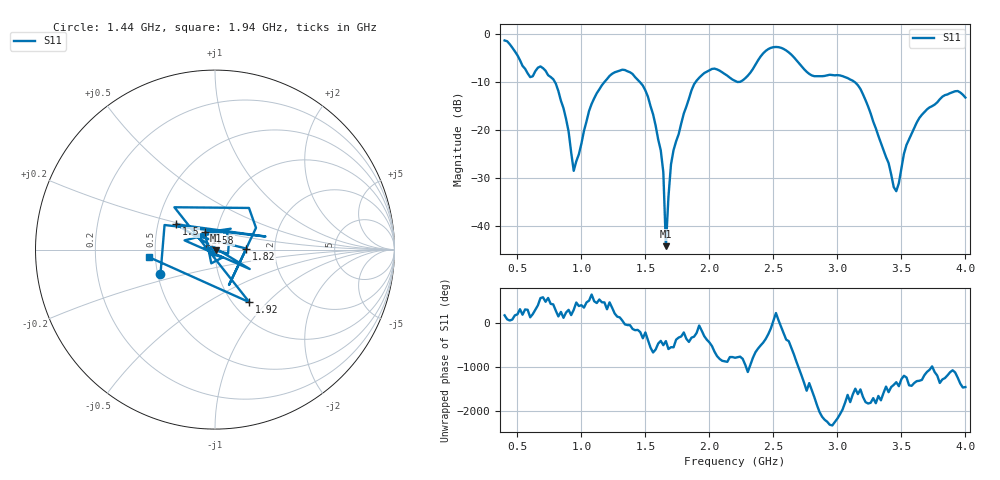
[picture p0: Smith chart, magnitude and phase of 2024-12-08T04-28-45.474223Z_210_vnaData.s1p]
!Created with skrf (http://scikit-rf.org).
# Hz S RI R 50.0
!freq ReS11 ImS11
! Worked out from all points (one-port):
!   181 points, 400 MHz to 4 GHz, reference 50 ohm
!   lowest |S11| = -44.3 dB at 1.66 GHz (marker M1), VSWR 1.01, Z = 50.4 - j0.47 ohm
!   |S11| at or under -10 dB: 792.8 MHz to 1.18 GHz (387.1 MHz wide, 39.2 % of centre); 1.457 GHz to 1.892 GHz (435.8 MHz wide, 26 % of centre); 3.135 GHz to end of sweep
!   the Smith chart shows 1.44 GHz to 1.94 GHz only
!   S11 on the Smith chart (normalised r, x): 1.44 GHz: 0.52, -0.16; 1.5 GHz: 0.62, +0.19; 1.58 GHz: 0.88, +0.17; 1.82 GHz: 1.42, +0.02; 1.92 GHz: 1.19, -0.79; 1.94 GHz: 0.46, -0.04
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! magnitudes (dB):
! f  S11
! 400 MHz  -1.3
! 600 MHz  -9.0
! 680 MHz  -6.7
! 780 MHz  -9.4
! 860 MHz  -15.5
! 940 MHz  -28.5
! 1.1 GHz  -13.4
! 1.3 GHz  -7.6
! 1.44 GHz  -9.5
! 1.5 GHz  -11.8
! 1.58 GHz  -19.1
! 1.64 GHz  -28.8
! 1.66 GHz  -44.3
! 1.7 GHz  -27.2
! 1.76 GHz  -20.9
! 1.82 GHz  -15.1
! 1.92 GHz  -9.1
! 1.94 GHz  -8.6
! 2.2 GHz  -9.8
! 2.48 GHz  -2.9
! 2.66 GHz  -4.8
! 2.8 GHz  -8.6
! 3.1 GHz  -9.5
! 3.22 GHz  -13.8
! 3.46 GHz  -32.8
! 3.56 GHz  -22.0
! 3.82 GHz  -13.1
! 4 GHz  -13.2
